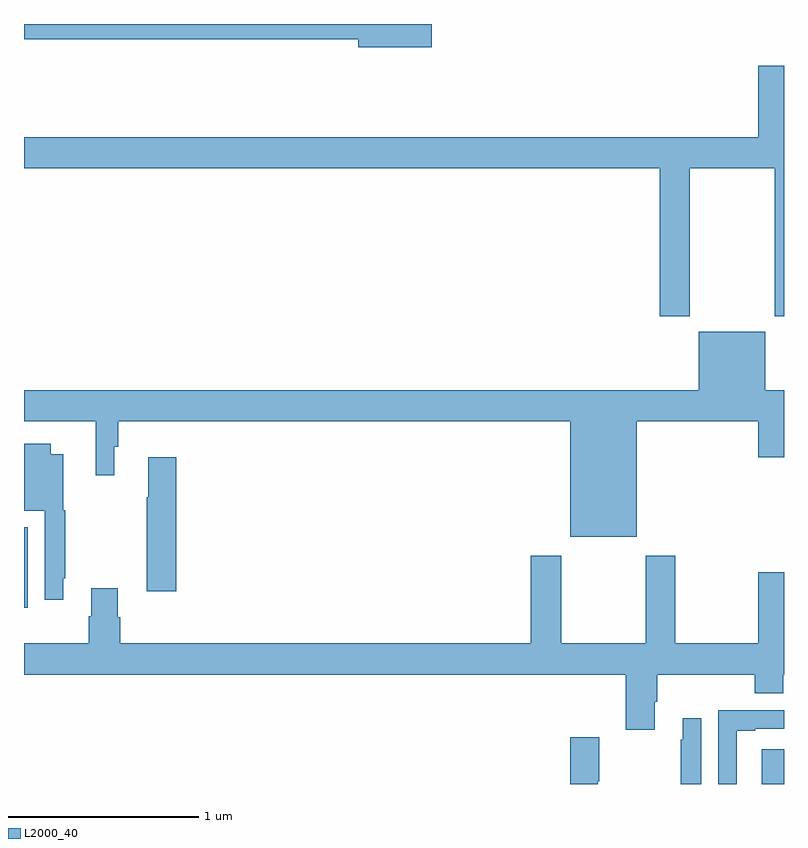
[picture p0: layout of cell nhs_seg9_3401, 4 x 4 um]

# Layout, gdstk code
import gdstk
lib = gdstk.Library(unit=1e-6, precision=1e-09)
def R(c, l, rs):  # rectangles x0, y0, x1, y1
    for r in rs: c.add(gdstk.rectangle(r[:2], r[2:], *l))
def P(c, l, *ps):  # polygons
    for p in ps: c.add(gdstk.Polygon(p, *l))
L2000_40 = (2000, 40)

nhs_seg9_3401 = lib.new_cell('nhs_seg9_3401')
R(nhs_seg9_3401, L2000_40, [(308.882,1206.5,309,1206.682), (305,1207.428,305.019,1207.852)])
P(nhs_seg9_3401, L2000_40, [(307.147,1210.5),(305,1210.5),(305,1210.42),(306.758,1210.42),(306.758,1210.378),(307.147,1210.378)],
  [(308.505,1209.74),(308.95,1209.74),(308.95,1208.961),(309,1208.961),(309,1210.279),(308.864,1210.279),(308.864,1209.904),(305,1209.904),(305,1209.74),(308.345,1209.74),(308.345,1208.961),(308.505,1208.961)],
  [(308.224,1208.408),(308.864,1208.408),(308.864,1208.22),(309,1208.22),(309,1208.572),(308.902,1208.572),(308.902,1208.881),(308.552,1208.881),(308.552,1208.572),(305,1208.572),(305,1208.408),(305.377,1208.408),(305.377,1208.124),(305.476,1208.124),(305.476,1208.274),(305.495,1208.274),(305.495,1208.408),(307.874,1208.408),(307.874,1207.802),(308.224,1207.802)],
  [(305.206,1207.582),(305.218,1207.582),(305.218,1207.941),(305.206,1207.941),(305.206,1208.236),(305.14,1208.236),(305.14,1208.29),(305,1208.29),(305,1207.937),(305.109,1207.937),(305.109,1207.47),(305.206,1207.47)],
  [(305.801,1208.221),(305.654,1208.221),(305.654,1208.008),(305.647,1208.008),(305.647,1207.515),(305.801,1207.515)],
  [(308.32,1206.934),(308.333,1206.934),(308.333,1207.076),(308.846,1207.076),(308.846,1206.978),(308.997,1206.978),(308.997,1207.076),(309,1207.076),(309,1207.615),(308.864,1207.615),(308.864,1207.24),(308.427,1207.24),(308.427,1207.702),(308.272,1207.702),(308.272,1207.24),(307.827,1207.24),(307.827,1207.702),(307.667,1207.702),(307.667,1207.24),(305.507,1207.24),(305.507,1207.377),(305.494,1207.377),(305.494,1207.531),(305.354,1207.531),(305.354,1207.382),(305.342,1207.382),(305.342,1207.24),(305,1207.24),(305,1207.076),(308.168,1207.076),(308.168,1206.786),(308.32,1206.786)],
  [(308.752,1206.78),(308.848,1206.78),(308.848,1206.792),(309,1206.792),(309,1206.888),(308.655,1206.888),(308.655,1206.5),(308.752,1206.5)],
  [(308.565,1206.847),(308.468,1206.847),(308.468,1206.734),(308.457,1206.734),(308.457,1206.5),(308.565,1206.5)],
  [(308.02,1206.514),(308.028,1206.514),(308.028,1206.745),(307.874,1206.745),(307.874,1206.5),(308.02,1206.5)])

lib.write_gds('nhs_seg9_3401.gds')
